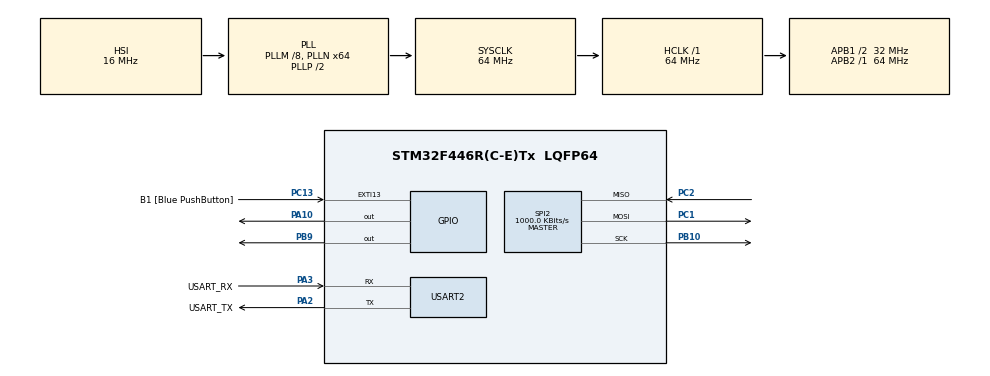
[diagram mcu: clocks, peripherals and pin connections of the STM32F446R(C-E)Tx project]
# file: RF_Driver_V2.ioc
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Mcu.Family=STM32F4
Mcu.Name=STM32F446R(C-E)Tx
Mcu.Package=LQFP64
NVIC.PriorityGroup=NVIC_PRIORITYGROUP_0
PA10.Signal=GPIO_Output
PA13.GPIO_Label=TMS
PA13.Mode=Serial_Wire
PA13.Signal=SYS_JTMS-SWDIO
PA14.GPIO_Label=TCK
PA14.Mode=Serial_Wire
PA14.Signal=SYS_JTCK-SWCLK
PA2.GPIO_Label=USART_TX
PA2.Mode=Asynchronous
PA2.Signal=USART2_TX
PA3.GPIO_Label=USART_RX
PA3.Mode=Asynchronous
PA3.Signal=USART2_RX
PB10.Mode=Full_Duplex_Master
PB10.Signal=SPI2_SCK
PB3.GPIO_Label=SWO
PB3.Signal=SYS_JTDO-SWO
PB9.Signal=GPIO_Output
PC1.Mode=Full_Duplex_Master
PC1.Signal=SPI2_MOSI
PC13.GPIO_Label=B1 [Blue PushButton]
PC13.GPIO_ModeDefaultEXTI=GPIO_MODE_IT_FALLING
PC13.Signal=GPXTI13
PC14-OSC32_IN.Mode=LSE-External-Oscillator
PC14-OSC32_IN.Signal=RCC_OSC32_IN
PC15-OSC32_OUT.Mode=LSE-External-Oscillator
PC15-OSC32_OUT.Signal=RCC_OSC32_OUT
PC2.Mode=Full_Duplex_Master
PC2.Signal=SPI2_MISO
PH0-OSC_IN.Mode=HSE-External-Oscillator
PH0-OSC_IN.Signal=RCC_OSC_IN
PH1-OSC_OUT.Mode=HSE-External-Oscillator
PH1-OSC_OUT.Signal=RCC_OSC_OUT
ProjectManager.HeapSize=0x200
ProjectManager.StackSize=0x400
ProjectManager.TargetToolchain=STM32CubeIDE
RCC.48MHZClocksFreq_Value=84000000
RCC.AHBFreq_Value=64000000
RCC.APB1CLKDivider=RCC_HCLK_DIV2
RCC.APB1Freq_Value=32000000
RCC.APB1TimFreq_Value=64000000
RCC.APB2Freq_Value=64000000
RCC.APB2TimFreq_Value=64000000
RCC.CortexFreq_Value=64000000
RCC.FLatency-AdvancedSettings=FLASH_LATENCY_2
RCC.HCLKFreq_Value=64000000
RCC.HSE_VALUE=8000000
RCC.HSI_VALUE=16000000
RCC.PLLM=8
RCC.PLLN=64
RCC.SYSCLKFreq_VALUE=64000000
RCC.SYSCLKSource=RCC_SYSCLKSOURCE_PLLCLK
RCC.USBFreq_Value=64000000
RCC.VCOOutputFreq_Value=128000000
SPI2.BaudRatePrescaler=SPI_BAUDRATEPRESCALER_32
SPI2.CLKPhase=SPI_PHASE_2EDGE
SPI2.CLKPolarity=SPI_POLARITY_HIGH
SPI2.CalculateBaudRate=1000.0 KBits/s
SPI2.Direction=SPI_DIRECTION_2LINES
SPI2.Mode=SPI_MODE_MASTER
SPI2.VirtualType=VM_MASTER
USART2.VirtualMode=VM_ASYNC
board=NUCLEO-F446RE

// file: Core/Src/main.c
/* USER CODE BEGIN Header */
/**
  ******************************************************************************
  * @file           : main.c
  * @brief          : Main program body
  ******************************************************************************
  * @attention
  *
  * <h2><center>&copy; Copyright (c) 2021 STMicroelectronics.
  * All rights reserved.</center></h2>
  *
  * This software component is licensed by ST under BSD 3-Clause license,
  * the "License"; You may not use this file except in compliance with the
  * License. You may obtain a copy of the License at:
  *                        opensource.org/licenses/BSD-3-Clause
  *
  ******************************************************************************
  */
/* USER CODE END Header */
#include "main.h"

/* USER CODE BEGIN Includes */
#include "AD9838.h"
/* USER CODE END Includes */

SPI_HandleTypeDef hspi2;

UART_HandleTypeDef huart2;

void SystemClock_Config(void);
static void MX_GPIO_Init(void);
static void MX_USART2_UART_Init(void);
static void MX_SPI2_Init(void);

int main(void)
{

  /* MCU Configuration--------------------------------------------------------*/

  /* Reset of all peripherals, Initializes the Flash interface and the Systick. */
  HAL_Init();

  /* Configure the system clock */
  SystemClock_Config();

  /* Initialize all configured peripherals */
  MX_GPIO_Init();
  MX_USART2_UART_Init();
  MX_SPI2_Init();
  /* USER CODE BEGIN 2 */
  HAL_GPIO_WritePin(GPIOA, GPIO_PIN_10, GPIO_PIN_SET);
  AD9838_Init();
  AD9838_Setup(AD9838_FSEL0, AD9838_PSEL1, AD9838_OUT_SINUS, AD9838_CMD_SW);
  AD9838_Reset();
  HAL_Delay(0.05);
  AD9838_SetFrequency(AD9838_REG_FREQ0, 1000);
  AD9838_SetFrequency(AD9838_REG_FREQ1, 0x666666);
  AD9838_SetPhase(AD9838_REG_PHASE0, 0x00);
  AD9838_SetPhase(AD9838_REG_PHASE1, 0x00);
  AD9838_ClearReset();
  AD9838_Setup(AD9838_FSEL0, AD9838_PSEL1, AD9838_OUT_SINUS, AD9838_CMD_SW);
  HAL_Delay(500);
  HAL_GPIO_WritePin(GPIOA, GPIO_PIN_10, GPIO_PIN_RESET);
  int i = 0;
  /* USER CODE END 2 */

  /* Infinite loop */
  while (1)
  {

  }
}

void SystemClock_Config(void)
{
  RCC_OscInitTypeDef RCC_OscInitStruct = {0};
  RCC_ClkInitTypeDef RCC_ClkInitStruct = {0};

  /** Configure the main internal regulator output voltage
  */
  __HAL_RCC_PWR_CLK_ENABLE();
  __HAL_PWR_VOLTAGESCALING_CONFIG(PWR_REGULATOR_VOLTAGE_SCALE3);
  /** Initializes the RCC Oscillators according to the specified parameters
  * in the RCC_OscInitTypeDef structure.
  */
  RCC_OscInitStruct.OscillatorType = RCC_OSCILLATORTYPE_HSI;
  RCC_OscInitStruct.HSIState = RCC_HSI_ON;
  RCC_OscInitStruct.HSICalibrationValue = RCC_HSICALIBRATION_DEFAULT;
  RCC_OscInitStruct.PLL.PLLState = RCC_PLL_ON;
  RCC_OscInitStruct.PLL.PLLSource = RCC_PLLSOURCE_HSI;
  RCC_OscInitStruct.PLL.PLLM = 8;
  RCC_OscInitStruct.PLL.PLLN = 64;
  RCC_OscInitStruct.PLL.PLLP = RCC_PLLP_DIV2;
  RCC_OscInitStruct.PLL.PLLQ = 2;
  RCC_OscInitStruct.PLL.PLLR = 2;
  if (HAL_RCC_OscConfig(&RCC_OscInitStruct) != HAL_OK)
  {
    Error_Handler();
  }
  /** Initializes the CPU, AHB and APB buses clocks
  */
  RCC_ClkInitStruct.ClockType = RCC_CLOCKTYPE_HCLK|RCC_CLOCKTYPE_SYSCLK
                              |RCC_CLOCKTYPE_PCLK1|RCC_CLOCKTYPE_PCLK2;
  RCC_ClkInitStruct.SYSCLKSource = RCC_SYSCLKSOURCE_PLLCLK;
  RCC_ClkInitStruct.AHBCLKDivider = RCC_SYSCLK_DIV1;
  RCC_ClkInitStruct.APB1CLKDivider = RCC_HCLK_DIV2;
  RCC_ClkInitStruct.APB2CLKDivider = RCC_HCLK_DIV1;

  if (HAL_RCC_ClockConfig(&RCC_ClkInitStruct, FLASH_LATENCY_2) != HAL_OK)
  {
    Error_Handler();
  }
}

static void MX_SPI2_Init(void)
{

  /* SPI2 parameter configuration*/
  hspi2.Instance = SPI2;
  hspi2.Init.Mode = SPI_MODE_MASTER;
  hspi2.Init.Direction = SPI_DIRECTION_2LINES;
  hspi2.Init.DataSize = SPI_DATASIZE_8BIT;
  hspi2.Init.CLKPolarity = SPI_POLARITY_HIGH;
  hspi2.Init.CLKPhase = SPI_PHASE_2EDGE;
  hspi2.Init.NSS = SPI_NSS_SOFT;
  hspi2.Init.BaudRatePrescaler = SPI_BAUDRATEPRESCALER_32;
  hspi2.Init.FirstBit = SPI_FIRSTBIT_MSB;
  hspi2.Init.TIMode = SPI_TIMODE_DISABLE;
  hspi2.Init.CRCCalculation = SPI_CRCCALCULATION_DISABLE;
  hspi2.Init.CRCPolynomial = 10;
  if (HAL_SPI_Init(&hspi2) != HAL_OK)
  {
    Error_Handler();
  }

}

static void MX_USART2_UART_Init(void)
{

  huart2.Instance = USART2;
  huart2.Init.BaudRate = 115200;
  huart2.Init.WordLength = UART_WORDLENGTH_8B;
  huart2.Init.StopBits = UART_STOPBITS_1;
  huart2.Init.Parity = UART_PARITY_NONE;
  huart2.Init.Mode = UART_MODE_TX_RX;
  huart2.Init.HwFlowCtl = UART_HWCONTROL_NONE;
  huart2.Init.OverSampling = UART_OVERSAMPLING_16;
  if (HAL_UART_Init(&huart2) != HAL_OK)
  {
    Error_Handler();
  }

}

static void MX_GPIO_Init(void)
{
  GPIO_InitTypeDef GPIO_InitStruct = {0};

  /* GPIO Ports Clock Enable */
  __HAL_RCC_GPIOC_CLK_ENABLE();
  __HAL_RCC_GPIOH_CLK_ENABLE();
  __HAL_RCC_GPIOA_CLK_ENABLE();
  __HAL_RCC_GPIOB_CLK_ENABLE();

  /*Configure GPIO pin Output Level */
  HAL_GPIO_WritePin(GPIOA, GPIO_PIN_10, GPIO_PIN_RESET);

  /*Configure GPIO pin Output Level */
  HAL_GPIO_WritePin(GPIOB, GPIO_PIN_9, GPIO_PIN_RESET);

  /*Configure GPIO pin : B1_Pin */
  GPIO_InitStruct.Pin = B1_Pin;
  GPIO_InitStruct.Mode = GPIO_MODE_IT_FALLING;
  GPIO_InitStruct.Pull = GPIO_NOPULL;
  HAL_GPIO_Init(B1_GPIO_Port, &GPIO_InitStruct);

  /*Configure GPIO pin : PA10 */
  GPIO_InitStruct.Pin = GPIO_PIN_10;
  GPIO_InitStruct.Mode = GPIO_MODE_OUTPUT_PP;
  GPIO_InitStruct.Pull = GPIO_NOPULL;
  GPIO_InitStruct.Speed = GPIO_SPEED_FREQ_LOW;
  HAL_GPIO_Init(GPIOA, &GPIO_InitStruct);

  /*Configure GPIO pin : PB9 */
  GPIO_InitStruct.Pin = GPIO_PIN_9;
  GPIO_InitStruct.Mode = GPIO_MODE_OUTPUT_PP;
  GPIO_InitStruct.Pull = GPIO_NOPULL;
  GPIO_InitStruct.Speed = GPIO_SPEED_FREQ_LOW;
  HAL_GPIO_Init(GPIOB, &GPIO_InitStruct);

}

/* USER CODE BEGIN 4 */
SPI_HandleTypeDef* Get_SPI(void) {
	return &hspi2;
}

UART_HandleTypeDef* Get_UART(void) {
	return &huart2;
}
/* USER CODE END 4 */

void Error_Handler(void)
{
  __disable_irq();
  while (1)
  {
  }
}

/************************ (C) COPYRIGHT STMicroelectronics *****END OF FILE****/
